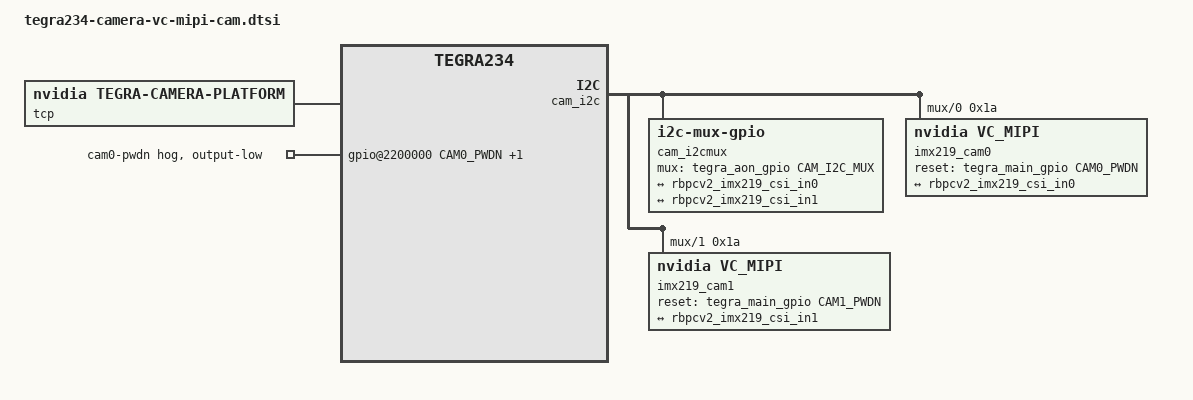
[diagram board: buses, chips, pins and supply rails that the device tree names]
/*
 * Copyright (c) 2022, NVIDIA CORPORATION.  All rights reserved.
 *
 * This program is free software; you can redistribute it and/or modify
 * it under the terms of the GNU General Public License as published by
 * the Free Software Foundation; either version 2 of the License, or
 * (at your option) any later version.
 *
 * This program is distributed in the hope that it will be useful, but WITHOUT
 * ANY WARRANTY; without even the implied warranty of MERCHANTABILITY or
 * FITNESS FOR A PARTICULAR PURPOSE.  See the GNU General Public License for
 * more details.
 *
 * You should have received a copy of the GNU General Public License
 * along with this program.  If not, see <http://www.gnu.org/licenses/>.
 */
#include <dt-bindings/media/camera.h>

// ------------------------------------------------------------------------------------------------
//  Driver Configuration for NVIDIA Jetson Orin Nano on NVIDIA Jetson Orin Nano Developer Kit
// ------------------------------------------------------------------------------------------------
#define VC_MIPI_CAM_0       1   // 1: Enabled, 0: Disabled  (serial_a => CSI Port 0 => VI Stream 0)
#define VC_MIPI_CAM_1       1   // 1: Enabled, 0: Disabled  (serial_e => CSI Port 4 => VI Stream 4)
// ------------------------------------------------------------------------------------------------
//  Supported number of lanes
// -----+------------------------------------------------------------------------------------------
//  1   | OV7251, IMX296, IMX297
//  2   | OV9281, IMX264, IMX265
//  2,4 | IMX178, IMX183, IMX226, IMX250, IMX252, IMX273, IMX290, IMX327, IMX335, IMX392, 
//      | IMX412, IMX415, IMX568
// -----+------------------------------------------------------------------------------------------
#define VC_MIPI_LANES       1   // 1, 2 Lanes
// ------------------------------------------------------------------------------------------------
//   Sensor Manufacturer
// -----+------------------------------------------------------------------------------------------
//   1  | Sony Sensor (IMX)
//   2  | Omni Vision Sensor (OV)
// -----+------------------------------------------------------------------------------------------
#define VC_MIPI_MANUFACTURER 1
// ------------------------------------------------------------------------------------------------
//  GStreamer Support
// ------------------------------------------------------------------------------------------------
//  If you want to use GStreamer with nvarguscamerasrc you have to adjust this settings in the 
//  device tree below. The sections which have to be modified are marked by a comment. 
//  To find the correct parameter values please follow the instruction in the main README.md of 
//  this repository https://github.com/VC-MIPI-modules/vc_mipi_nvidia#gstreamer-support
// ------------------------------------------------------------------------------------------------

#define VC_MIPI_METADATA_H  "0"

#if VC_MIPI_LANES == 1
    #define BUS_WIDTH 1
    #define NUM_LANES "1" 
    #define NUM_CSI_LANES 2
#endif
#if VC_MIPI_LANES == 2
    #define BUS_WIDTH 2
    #define NUM_LANES "2" 
    #define NUM_CSI_LANES 4
#endif

#if VC_MIPI_CAM_0 == 1 && VC_MIPI_CAM_1 == 1
    #define VC_MIPI_CAMERAS 2
#else
    #define VC_MIPI_CAMERAS 1
#endif

/ {
	tegra-capture-vi  {
		num-channels = <2>;
		ports {
			#address-cells = <1>;
			#size-cells = <0>;
			vi_port0: port@0 {
				reg = <0>;
				rbpcv2_imx219_vi_in0: endpoint {
					port-index = <0>;
					bus-width = <BUS_WIDTH>;
					remote-endpoint = <&rbpcv2_imx219_csi_out0>;
				};
			};
			vi_port1: port@1 {
				reg = <1>;
				rbpcv2_imx219_vi_in1: endpoint {
					port-index = <2>;
					bus-width = <BUS_WIDTH>;
					remote-endpoint = <&rbpcv2_imx219_csi_out1>;
				};
			};
		};
	};

	host1x@13e00000 {
		nvcsi@15a00000 {
			num-channels = <2>;
			#address-cells = <1>;
			#size-cells = <0>;
			csi_chan0: channel@0 {
				reg = <0>;
				ports {
					#address-cells = <1>;
					#size-cells = <0>;
						csi_chan0_port0: port@0 {
						reg = <0>;
						rbpcv2_imx219_csi_in0: endpoint@0 {
							port-index = <0>;
							bus-width = <BUS_WIDTH>;
							remote-endpoint = <&rbpcv2_imx219_out0>;
						};
					};
					csi_chan0_port1: port@1 {
						reg = <1>;
						rbpcv2_imx219_csi_out0: endpoint@1 {
							remote-endpoint = <&rbpcv2_imx219_vi_in0>;
						};
					};
				};
			};
			csi_chan1: channel@1 {
				reg = <1>;
				ports {
					#address-cells = <1>;
					#size-cells = <0>;
					csi_chan1_port0: port@0 {
						reg = <0>;
						rbpcv2_imx219_csi_in1: endpoint@2 {
							port-index = <2>;
							bus-width = <BUS_WIDTH>;
							remote-endpoint = <&rbpcv2_imx219_out1>;
						};
					};
					csi_chan1_port1: port@1 {
						reg = <1>;
						rbpcv2_imx219_csi_out1: endpoint@3 {
							remote-endpoint = <&rbpcv2_imx219_vi_in1>;
						};
					};
				};
			};
		};
	};

	cam_i2cmux {
		i2c_0:i2c@0 {
			imx219_cam0: rbpcv2_imx219_a@1a {
				reg                     = <0x1a>;
				compatible              = "nvidia,vc_mipi";
				devnode                 = "video0";
				use_sensor_mode_id      = "false";
				sensor_model            = "vc_mipi";

				num_lanes               = NUM_LANES;
				trigger_mode            = "0";
				io_mode                 = "0";

				// ----------------------------------------------------
				// If you want to use GStreamer with nvarguscamerasrc
				// you have to adjust this settings
				physical_w              = "1.000";
				physical_h              = "1.000";
				// ----------------------------------------------------

				// This node is needed by the Tegra framework.
				// You don't have to change any settings if just want to use the V4L API.
				mode0 {
					num_lanes                = NUM_LANES;
					tegra_sinterface         = "serial_a";
					embedded_metadata_height = VC_MIPI_METADATA_H;
					readout_orientation      = "0";
					// lane_polarity 		 = "6";

					// ----------------------------------------------------
					// If you want to use GStreamer with nvarguscamerasrc
					// you have to adjust this settings. 
					active_l                 = "0";
					active_t                 = "0";
					active_w                 = "0";
					active_h                 = "0";
					mode_type 		 = "bayer";
					pixel_phase 		 = "rggb";
					csi_pixel_bit_depth 	 = "10";

					min_gain_val             = "0";         // mdB
					max_gain_val             = "48000";     // mdB
					step_gain_val            = "100";       // mdB
					default_gain             = "0";         // mdB

					min_exp_time             = "1";         // us
					max_exp_time             = "1000000";   // us
					step_exp_time            = "1";         // us
					default_exp_time         = "10000";     // us

					min_framerate            = "0";         // mHz
					max_framerate            = "60000";     // mHz
					step_framerate           = "100";       // mHz
					default_framerate        = "60000";     // mHz
					// ----------------------------------------------------

					gain_factor              = "1000";
					exposure_factor          = "1000000";
					framerate_factor         = "1000";
					inherent_gain            = "1";
					min_hdr_ratio            = "1";
					max_hdr_ratio            = "1";

					line_length              = "0";
					phy_mode                 = "DPHY";
					discontinuous_clk        = "no";
					mclk_khz                 = "24000";
					pix_clk_hz               = "800000000";
					mclk_multiplier          = "9.33";
					cil_settletime           = "0";
					dpcm_enable              = "false";
				};

				ports {
					#address-cells = <1>;
					#size-cells = <0>;
					port@0 {
						reg = <0>;
						rbpcv2_imx219_out0: endpoint {
							port-index = <0>;
							bus-width = <BUS_WIDTH>;
							remote-endpoint = <&rbpcv2_imx219_csi_in0>;
						};
					};
				};
			};
		};
		i2c_1: i2c@1 {
			imx219_cam1: rbpcv2_imx219_c@1a {
				reg                     = <0x1a>;
				compatible              = "nvidia,vc_mipi";
				devnode                 = "video1";
				use_sensor_mode_id      = "false";
				sensor_model            = "vc_mipi";

				num_lanes               = NUM_LANES;
				trigger_mode            = "0";
				io_mode                 = "0";

				// ----------------------------------------------------
				// If you want to use GStreamer with nvarguscamerasrc
				// you have to adjust this settings
				physical_w              = "1.000";
				physical_h              = "1.000";
				// ----------------------------------------------------

				// This node is needed by the Tegra framework.
				// You don't have to change any settings if just want to use the V4L API.
				mode0 {
					num_lanes                = NUM_LANES;
					tegra_sinterface         = "serial_e";
					embedded_metadata_height = VC_MIPI_METADATA_H;
					readout_orientation      = "0";
					// lane_polarity 		 = "6";

					// ----------------------------------------------------
					// If you want to use GStreamer with nvarguscamerasrc
					// you have to adjust this settings. 
					active_l                 = "0";
					active_t                 = "0";
					active_w                 = "0";
					active_h                 = "0";
					mode_type 		 = "bayer";
					pixel_phase 		 = "rggb";
					csi_pixel_bit_depth 	 = "10";

					min_gain_val             = "0";         // mdB
					max_gain_val             = "48000";     // mdB
					step_gain_val            = "100";       // mdB
					default_gain             = "0";         // mdB

					min_exp_time             = "1";         // us
					max_exp_time             = "1000000";   // us
					step_exp_time            = "1";         // us
					default_exp_time         = "10000";     // us

					min_framerate            = "0";         // mHz
					max_framerate            = "60000";     // mHz
					step_framerate           = "100";       // mHz
					default_framerate        = "60000";     // mHz
					// ----------------------------------------------------

					gain_factor              = "1000";
					exposure_factor          = "1000000";
					framerate_factor         = "1000";
					inherent_gain            = "1";
					min_hdr_ratio            = "1";
					max_hdr_ratio            = "1";

					line_length              = "0";
					phy_mode                 = "DPHY";
					discontinuous_clk        = "no";
					mclk_khz                 = "24000";
					pix_clk_hz               = "800000000";
					mclk_multiplier          = "9.33";
					cil_settletime           = "0";
					dpcm_enable              = "false";
				};

				ports {
					#address-cells = <1>;
					#size-cells = <0>;
					port@0 {
						reg = <0>;
						rbpcv2_imx219_out1: endpoint {
							status = "okay";
							port-index = <2>;
							bus-width = <BUS_WIDTH>;
							remote-endpoint = <&rbpcv2_imx219_csi_in1>;
						};
					};
				};
			};
		};
	};

	lens_imx219@RBPCV2 {
		min_focus_distance = "0.0";
		hyper_focal = "0.0";
		focal_length = "3.04";
		f_number = "2.0";
		aperture = "0.0";
	};
};
/ {
	tcp: tegra-camera-platform {
		compatible = "nvidia, tegra-camera-platform";
		/**
		* Physical settings to calculate max ISO BW
		*
		* num_csi_lanes = <>;
		* Total number of CSI lanes when all cameras are active
		*
		* max_lane_speed = <>;
		* Max lane speed in Kbit/s
		*
		* min_bits_per_pixel = <>;
		* Min bits per pixel
		*
		* vi_peak_byte_per_pixel = <>;
		* Max byte per pixel for the VI ISO case
		*
		* vi_bw_margin_pct = <>;
		* Vi bandwidth margin in percentage
		*
		* max_pixel_rate = <>;
		* Max pixel rate in Kpixel/s for the ISP ISO case
		*
		* isp_peak_byte_per_pixel = <>;
		* Max byte per pixel for the ISP ISO case
		*
		* isp_bw_margin_pct = <>;
		* Isp bandwidth margin in percentage
		*/
		num_csi_lanes = <NUM_CSI_LANES>;
		max_lane_speed = <1500000>;
		min_bits_per_pixel = <10>;
		vi_peak_byte_per_pixel = <2>;
		vi_bw_margin_pct = <25>;
		max_pixel_rate = <240000>;
		isp_peak_byte_per_pixel = <5>;
		isp_bw_margin_pct = <25>;

		/**
		 * The general guideline for naming badge_info contains 3 parts, and is as follows,
		 * The first part is the camera_board_id for the module; if the module is in a FFD
		 * platform, then use the platform name for this part.
		 * The second part contains the position of the module, ex. "rear" or "front".
		 * The third part contains the last 6 characters of a part number which is found
		 * in the module's specsheet from the vendor.
		 */
		modules {
			cam_module0: module0 {
				badge = "jakku_front_RBP194";
				position = "front";
				orientation = "1";
				cam_module0_drivernode0: drivernode0 {
					pcl_id = "v4l2_sensor";
					devname = "imx219 9-0010";
					proc-device-tree = "/proc/device-tree/cam_i2cmux/i2c@0/rbpcv2_imx219_a@1a";
				};
				cam_module0_drivernode1: drivernode1 {
					pcl_id = "v4l2_lens";
					proc-device-tree = "/proc/device-tree/lens_imx219@RBPCV2/";
				};
			};
			cam_module1: module1 {
				badge = "jakku_rear_RBP194";
				position = "rear";
				orientation = "1";
				cam_module1_drivernode0: drivernode0 {
					pcl_id = "v4l2_sensor";
					devname = "imx219 10-0010";
					proc-device-tree = "/proc/device-tree/cam_i2cmux/i2c@1/rbpcv2_imx219_c@1a";
				};
				cam_module1_drivernode1: drivernode1 {
					pcl_id = "v4l2_lens";
					proc-device-tree = "/proc/device-tree/lens_imx219@RBPCV2/";
				};
			};
		};
	};
};

#define CAM0_PWDN	TEGRA234_MAIN_GPIO(H, 6)
#define CAM1_PWDN	TEGRA234_MAIN_GPIO(AC, 0)
#define CAM_I2C_MUX 	TEGRA234_AON_GPIO(CC, 3)

/ {
	cam_i2cmux{
		status = "okay";
		compatible = "i2c-mux-gpio";
		#address-cells = <1>;
		#size-cells = <0>;
		i2c-parent = <&cam_i2c>;
		mux-gpios = <&tegra_aon_gpio CAM_I2C_MUX GPIO_ACTIVE_HIGH>;
		i2c@0 {
			status = "okay";
			reg = <0>;
			#address-cells = <1>;
			#size-cells = <0>;
			rbpcv2_imx219_a@1a {
				reset-gpios = <&tegra_main_gpio CAM0_PWDN GPIO_ACTIVE_HIGH>;
			};
		};
		i2c@1 {
			status = "okay";
			reg = <1>;
			#address-cells = <1>;
			#size-cells = <0>;
			rbpcv2_imx219_c@1a {
				reset-gpios = <&tegra_main_gpio CAM1_PWDN GPIO_ACTIVE_HIGH>;
			};
		};
	};

	gpio@2200000 {
		camera-control-output-low {
			gpio-hog;
			output-low;
			gpios = <CAM0_PWDN 0 CAM1_PWDN 0>;
			label = "cam0-pwdn","cam1-pwdn";
		};
	};
};
